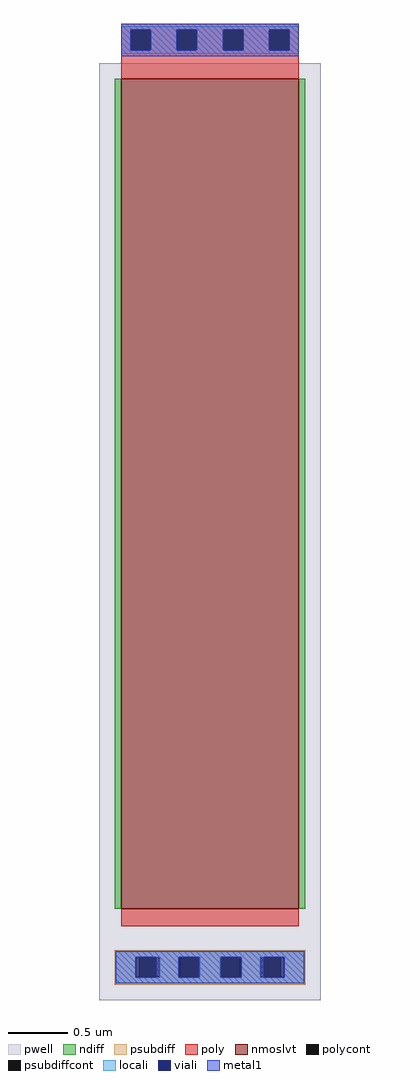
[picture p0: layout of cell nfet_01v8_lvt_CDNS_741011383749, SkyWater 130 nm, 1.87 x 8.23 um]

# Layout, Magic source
magic
tech sky130A
magscale 1 2
<< pwell >>
rect -37 -154 337 1426
<< nmoslvt >>
rect 0 0 300 1400
<< ndiff >>
rect -11 0 0 1400
rect 300 0 311 1400
<< psubdiff >>
rect -11 -82 311 -70
rect -11 -116 31 -82
rect 65 -116 99 -82
rect 133 -116 167 -82
rect 201 -116 235 -82
rect 269 -116 311 -82
rect -11 -128 311 -116
<< psubdiffcont >>
rect 31 -116 65 -82
rect 99 -116 133 -82
rect 167 -116 201 -82
rect 235 -116 269 -82
<< poly >>
rect 0 1482 300 1492
rect 0 1448 16 1482
rect 50 1448 94 1482
rect 128 1448 172 1482
rect 206 1448 250 1482
rect 284 1448 300 1482
rect 0 1400 300 1448
rect 0 -30 300 0
<< polycont >>
rect 16 1448 50 1482
rect 94 1448 128 1482
rect 172 1448 206 1482
rect 250 1448 284 1482
<< locali >>
rect 0 1482 300 1488
rect 0 1448 16 1482
rect 50 1448 94 1482
rect 128 1448 172 1482
rect 206 1448 250 1482
rect 284 1448 300 1482
rect 0 1442 300 1448
rect -9 -82 309 -72
rect -9 -116 25 -82
rect 65 -116 97 -82
rect 133 -116 167 -82
rect 203 -116 235 -82
rect 275 -116 309 -82
rect -9 -126 309 -116
<< viali >>
rect 16 1448 50 1482
rect 94 1448 128 1482
rect 172 1448 206 1482
rect 250 1448 284 1482
rect 25 -116 31 -82
rect 31 -116 59 -82
rect 97 -116 99 -82
rect 99 -116 131 -82
rect 169 -116 201 -82
rect 201 -116 203 -82
rect 241 -116 269 -82
rect 269 -116 275 -82
<< metal1 >>
rect 0 1482 300 1492
rect 0 1448 16 1482
rect 50 1448 94 1482
rect 128 1448 172 1482
rect 206 1448 250 1482
rect 284 1448 300 1482
rect 0 1438 300 1448
rect -9 -82 309 -72
rect -9 -116 25 -82
rect 59 -116 97 -82
rect 131 -116 169 -82
rect 203 -116 241 -82
rect 275 -116 309 -82
rect -9 -126 309 -116
<< end >>
